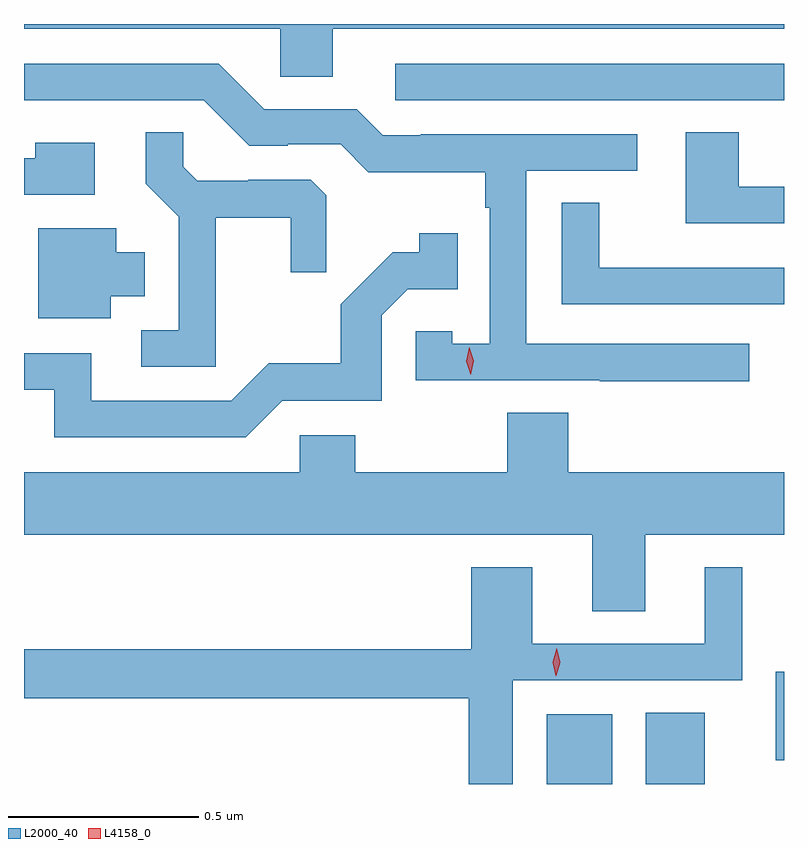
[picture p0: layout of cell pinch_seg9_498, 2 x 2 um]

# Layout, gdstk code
import gdstk
lib = gdstk.Library(unit=1e-6, precision=1e-09)
def R(c, l, rs):  # rectangles x0, y0, x1, y1
    for r in rs: c.add(gdstk.rectangle(r[:2], r[2:], *l))
def P(c, l, *ps):  # polygons
    for p in ps: c.add(gdstk.Polygon(p, *l))
L2000_40 = (2000, 40)
L4158_0 = (4158, 0)

pinch_seg9_498 = lib.new_cell('pinch_seg9_498')
R(pinch_seg9_498, L2000_40, [(337.373,1183.776,337.546,1183.96), (337.634,1183.776,337.789,1183.964), (337.976,1183.838,337.998,1184.071), (336.975,1185.576,337.998,1185.672)])
P(pinch_seg9_498, L2000_40, [(336.811,1185.764),(337.998,1185.764),(337.998,1185.776),(335.998,1185.776),(335.998,1185.764),(336.672,1185.764),(336.672,1185.637),(336.811,1185.637)],
  [(337.906,1184.934),(337.32,1184.934),(337.32,1185.39),(337.612,1185.39),(337.612,1185.486),(337.042,1185.486),(337.042,1185.483),(336.942,1185.483),(336.873,1185.552),(336.63,1185.552),(336.51,1185.672),(335.998,1185.672),(335.998,1185.576),(336.471,1185.576),(336.591,1185.456),(336.692,1185.456),(336.692,1185.459),(336.831,1185.459),(336.904,1185.386),(337.212,1185.386),(337.212,1185.293),(337.224,1185.293),(337.224,1184.935),(337.125,1184.935),(337.125,1184.967),(337.029,1184.967),(337.029,1184.838),(337.513,1184.838),(337.513,1184.836),(337.906,1184.836)],
  [(336.503,1185.266),(336.7,1185.266),(336.7,1185.123),(336.794,1185.123),(336.794,1185.325),(336.753,1185.366),(336.588,1185.366),(336.588,1185.363),(336.454,1185.363),(336.417,1185.4),(336.417,1185.491),(336.319,1185.491),(336.319,1185.355),(336.405,1185.269),(336.405,1184.97),(336.306,1184.97),(336.306,1184.874),(336.503,1184.874)],
  [(337.998,1185.348),(337.879,1185.348),(337.879,1185.491),(337.739,1185.491),(337.739,1185.252),(337.998,1185.252)],
  [(336.184,1185.463),(336.028,1185.463),(336.028,1185.423),(335.998,1185.423),(335.998,1185.327),(336.184,1185.327)],
  [(337.998,1185.134),(337.907,1185.134),(337.907,1185.135),(337.512,1185.135),(337.512,1185.305),(337.413,1185.305),(337.413,1185.039),(337.998,1185.039)],
  [(336.226,1185.059),(336.316,1185.059),(336.316,1185.175),(336.241,1185.175),(336.241,1185.238),(336.035,1185.238),(336.035,1185.002),(336.226,1185.002)],
  [(336.678,1184.784),(336.939,1184.784),(336.939,1185.009),(337.008,1185.078),(337.139,1185.078),(337.139,1185.226),(337.038,1185.226),(337.038,1185.176),(336.968,1185.176),(336.831,1185.038),(336.831,1184.883),(336.642,1184.883),(336.543,1184.784),(336.175,1184.784),(336.175,1184.91),(335.998,1184.91),(335.998,1184.814),(336.077,1184.814),(336.077,1184.688),(336.582,1184.688)],
  [(337.633,1184.432),(337.998,1184.432),(337.998,1184.596),(337.43,1184.596),(337.43,1184.753),(337.27,1184.753),(337.27,1184.596),(336.87,1184.596),(336.87,1184.694),(336.723,1184.694),(336.723,1184.596),(335.998,1184.596),(335.998,1184.432),(337.493,1184.432),(337.493,1184.23),(337.633,1184.23)],
  [(337.284,1184.049),(337.888,1184.049),(337.888,1184.347),(337.79,1184.347),(337.79,1184.145),(337.336,1184.145),(337.336,1184.347),(337.175,1184.347),(337.175,1184.131),(335.998,1184.131),(335.998,1184.002),(337.168,1184.002),(337.168,1183.776),(337.284,1183.776)])
P(pinch_seg9_498, L4158_0, [(337.397,1184.061),(337.397,1184.061),(337.389,1184.097),(337.4,1184.133),(337.4,1184.133),(337.4,1184.133),(337.409,1184.097),(337.398,1184.061)],
  [(337.173,1184.853),(337.173,1184.853),(337.162,1184.889),(337.17,1184.925),(337.17,1184.925),(337.17,1184.925),(337.182,1184.89),(337.173,1184.853)])

lib.write_gds('pinch_seg9_498.gds')
